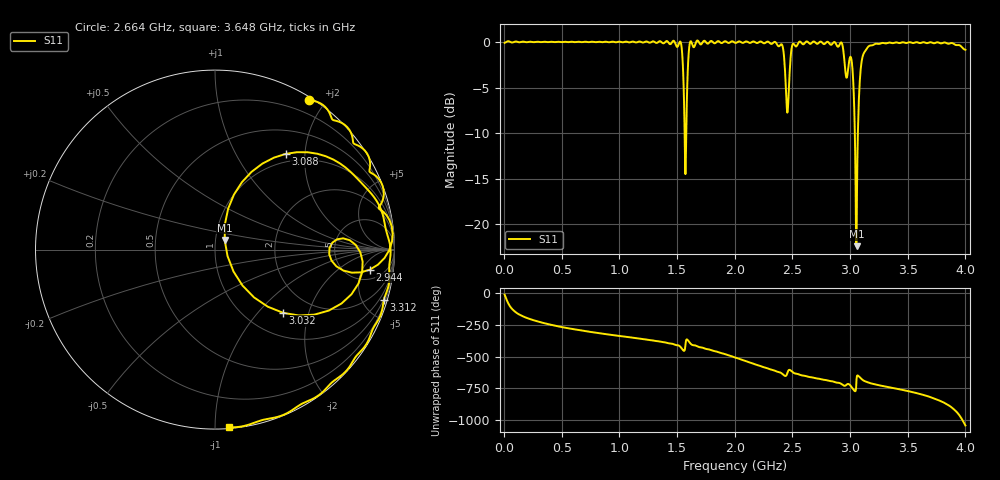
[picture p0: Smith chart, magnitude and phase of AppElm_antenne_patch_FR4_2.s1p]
! TOUCHSTONE file generated by CST MICROWAVE STUDIO
! Date and time: Tue Jun  7 20:51:52 2022
! Project name: AppElm_antenne_patch_FR4.cst
! Parameters = {L=45; W=58.5; e=0.035; h=1.6; lambda=0.190476; ls=120; w0=1.6; w1=0.533333; ws=120; y0=20; y1=19.05}
! Header version: 2018
! Port assignment regex: !\s*Touchstone port\s*([0-9]+)\s*=\s*(CST MWS port|CST DS port)\s*([0-9]+|Zmin|Zmax)\s*\(\"(.*)\"\)(\s*mode\s*([0-9]+))?.*
! Touchstone port assignment:
! Touchstone port 1 = CST MWS port 1 ("")
# GHz S MA R 50
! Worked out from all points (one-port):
!   1000 points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, 4 MHz to 4 GHz, reference 50 ohm
!   lowest |S11| = -22.4 dB at 3.056 GHz (marker M1), VSWR 1.16, Z = 55.4 + j5.94 ohm
!   |S11| at or under -10 dB: 1.565 GHz to 1.579 GHz (14.07 MHz wide, 0.895 % of centre); 3.041 GHz to 3.068 GHz (26.57 MHz wide, 0.87 % of centre)
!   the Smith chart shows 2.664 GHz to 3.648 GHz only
!   S11 on the Smith chart (normalised r, x): 2.664 GHz: 0.04, +1.81; 2.944 GHz: 8, -7; 3.032 GHz: 1.44, -1.38; 3.088 GHz: 0.86, +1.63; 3.312 GHz: 0.45, -6.89; 3.648 GHz: 0.01, -1.08
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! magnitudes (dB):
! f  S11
! 4 MHz  -0.1
! 504 MHz  0.0
! 1.004 GHz  0.0
! 1.504 GHz  -0.5
! 1.536 GHz  -0.3
! 1.56 GHz  -6.6
! 1.572 GHz  -14.5
! 1.604 GHz  -0.7
! 1.62 GHz  0.1
! 2.004 GHz  -0.1
! 2.4 GHz  -0.3
! 2.456 GHz  -7.8
! 2.504 GHz  -0.2
! 2.664 GHz  -0.1
! 2.944 GHz  -1.2
! 2.968 GHz  -3.9
! 3.004 GHz  -1.6
! 3.02 GHz  -2.9
! 3.032 GHz  -5.7
! 3.044 GHz  -12.0
! 3.056 GHz  -22.4
! 3.068 GHz  -9.8
! 3.088 GHz  -3.6
! 3.136 GHz  -0.9
! 3.312 GHz  -0.2
! 3.504 GHz  -0.1
! 3.648 GHz  -0.1
! 4 GHz  -0.9
